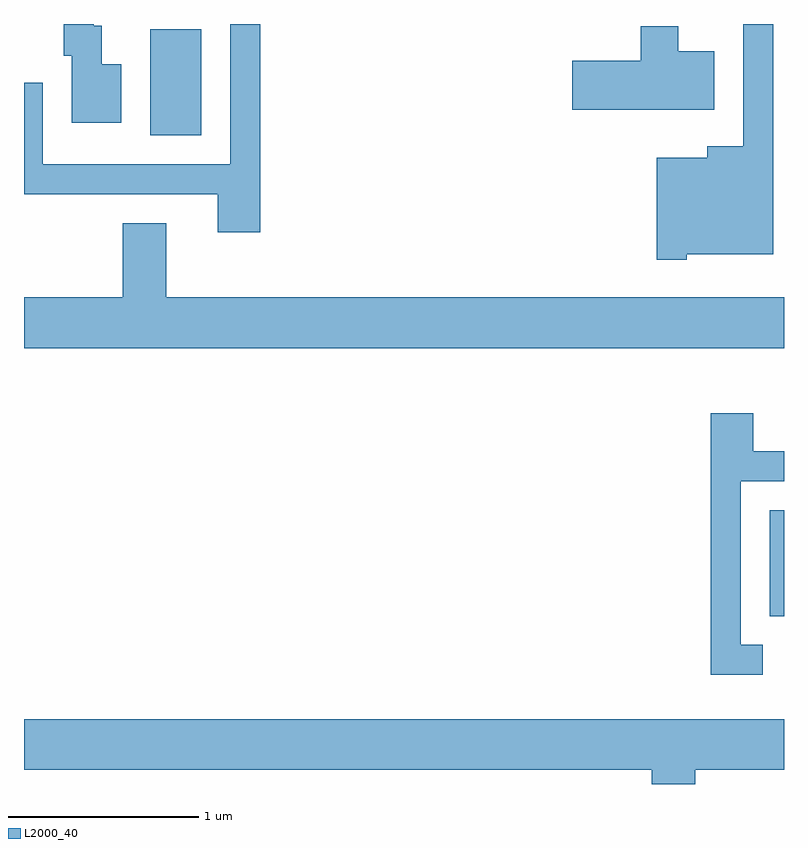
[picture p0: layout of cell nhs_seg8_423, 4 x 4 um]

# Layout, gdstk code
import gdstk
lib = gdstk.Library(unit=1e-6, precision=1e-09)
def R(c, l, rs):  # rectangles x0, y0, x1, y1
    for r in rs: c.add(gdstk.rectangle(r[:2], r[2:], *l))
def P(c, l, *ps):  # polygons
    for p in ps: c.add(gdstk.Polygon(p, *l))
L2000_40 = (2000, 40)

nhs_seg8_423 = lib.new_cell('nhs_seg8_423')
R(nhs_seg8_423, L2000_40, [(201.536,1837.226,201.611,1837.784), (198.276,1839.756,198.544,1840.314)])
P(nhs_seg8_423, L2000_40, [(198.854,1840.342),(198.696,1840.342),(198.696,1839.604),(197.709,1839.604),(197.709,1840.033),(197.611,1840.033),(197.611,1839.446),(198.631,1839.446),(198.631,1839.246),(198.854,1839.246)],
  [(201.099,1839.131),(201.554,1839.131),(201.554,1840.342),(201.396,1840.342),(201.396,1839.699),(201.206,1839.699),(201.206,1839.639),(200.941,1839.639),(200.941,1839.101),(201.099,1839.101)],
  [(198.124,1840.129),(198.019,1840.129),(198.019,1840.334),(197.979,1840.334),(197.979,1840.342),(197.821,1840.342),(197.821,1840.176),(197.861,1840.176),(197.861,1839.821),(198.124,1839.821)],
  [(201.244,1840.199),(201.054,1840.199),(201.054,1840.329),(200.856,1840.329),(200.856,1840.149),(200.496,1840.149),(200.496,1839.891),(201.244,1839.891)],
  [(201.611,1838.904),(198.359,1838.904),(198.359,1839.294),(198.131,1839.294),(198.131,1838.904),(197.611,1838.904),(197.611,1838.636),(201.611,1838.636)],
  [(201.498,1837.074),(201.384,1837.074),(201.384,1837.936),(201.611,1837.936),(201.611,1838.094),(201.449,1838.094),(201.449,1838.294),(201.226,1838.294),(201.226,1836.916),(201.498,1836.916)],
  [(201.144,1836.416),(201.611,1836.416),(201.611,1836.684),(197.611,1836.684),(197.611,1836.416),(200.916,1836.416),(200.916,1836.342),(201.144,1836.342)])

lib.write_gds('nhs_seg8_423.gds')
